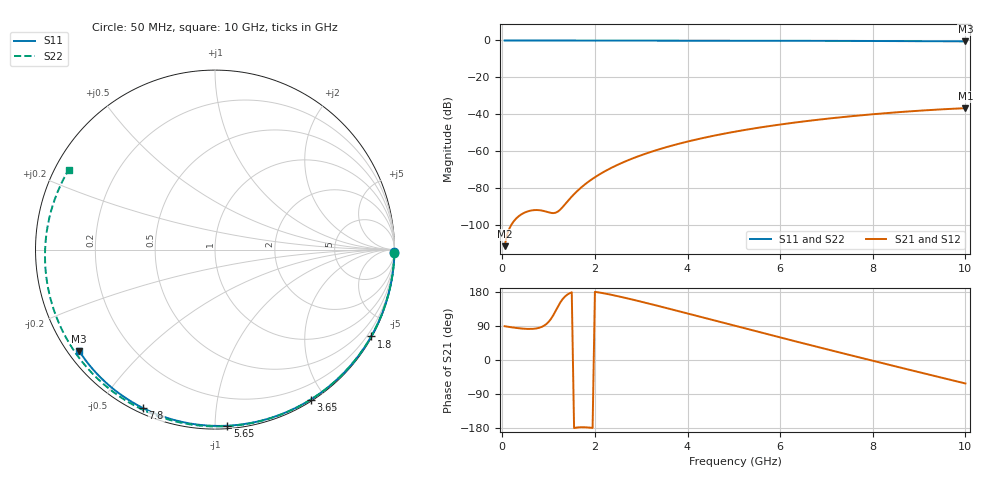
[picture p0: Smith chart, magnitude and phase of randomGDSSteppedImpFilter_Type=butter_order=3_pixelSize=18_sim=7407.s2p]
! freq	dB(S11)	phase(S11)	dB(S12)	phase(S12)
!  dB(S21)	phase(S21)	dB(S22)	phase(S22)
!S-par simulation data
#  GHz  S  DB  R 50
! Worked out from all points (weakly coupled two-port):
!   200 points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, 50 MHz to 10 GHz, reference 50 ohm
!   highest |S21| = -36.75 dB at 10 GHz (marker M1); lowest = -111.6 dB at 50 MHz (marker M2)
!   lowest |S11| = -0.5 dB at 10 GHz (marker M3), VSWR 34.99, Z = 1.59 - j16.6 ohm
!   |S11| at or under -10 dB: nowhere
!   |S22| runs from -0.6 to 0.0 dB; largest |S21 - S12| = 0
!   S11 on the Smith chart (normalised r, x): 50 MHz: open; 1.8 GHz: 0.03, -3.86; 3.65 GHz: 0.02, -1.82; 5.65 GHz: 0.02, -1.07; 7.8 GHz: 0.02, -0.64; 10 GHz: 0.03, -0.33
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0.05  -0.00 -0.8  -111.64 89.2  -111.64 89.2  -0.00 -1.2
0.85  -0.02 -13.8  -92.30 87.3  -92.30 87.3  -0.02 -19.3
1.65  -0.03 -26.7  -80.97 -177.7  -80.97 -177.7  -0.05 -37.1
1.7  -0.03 -27.5  -79.86 -177.4  -79.86 -177.4  -0.05 -38.2
1.75  -0.04 -28.3  -78.80 -177.4  -78.80 -177.4  -0.05 -39.3
1.8  -0.04 -29.1  -77.80 -177.6  -77.80 -177.6  -0.05 -40.4
2.1  -0.04 -33.8  -72.65 178.0  -72.65 178.0  -0.06 -46.9
2.5  -0.05 -40.0  -67.37 168.3  -67.37 168.3  -0.07 -55.5
2.9  -0.06 -46.2  -63.19 156.8  -63.19 156.8  -0.08 -63.9
3.4  -0.07 -53.7  -58.97 141.6  -58.97 141.6  -0.10 -74.2
3.65  -0.08 -57.5  -57.15 133.8  -57.15 133.8  -0.11 -79.3
4.35  -0.10 -67.7  -52.84 111.7  -52.84 111.7  -0.13 -93.3
5.05  -0.12 -77.7  -49.38 89.5  -49.38 89.5  -0.17 -107.0
5.65  -0.14 -86.0  -46.90 70.5  -46.90 70.5  -0.20 -118.5
6.7  -0.19 -100.1  -43.36 37.8  -43.36 37.8  -0.27 -138.6
7.25  -0.23 -107.3  -41.84 20.9  -41.84 20.9  -0.32 -149.2
7.8  -0.27 -114.4  -40.49 4.1  -40.49 4.1  -0.37 -160.1
8.35  -0.31 -121.5  -39.31 -12.6  -39.31 -12.6  -0.43 -171.3
8.8  -0.35 -127.3  -38.47 -26.2  -38.47 -26.2  -0.48 179.1
9.2  -0.39 -132.5  -37.81 -38.2  -37.81 -38.2  -0.53 170.3
9.6  -0.44 -137.8  -37.23 -50.1  -37.23 -50.1  -0.59 161.0
10  -0.50 -143.2  -36.75 -61.9  -36.75 -61.9  -0.64 151.3
